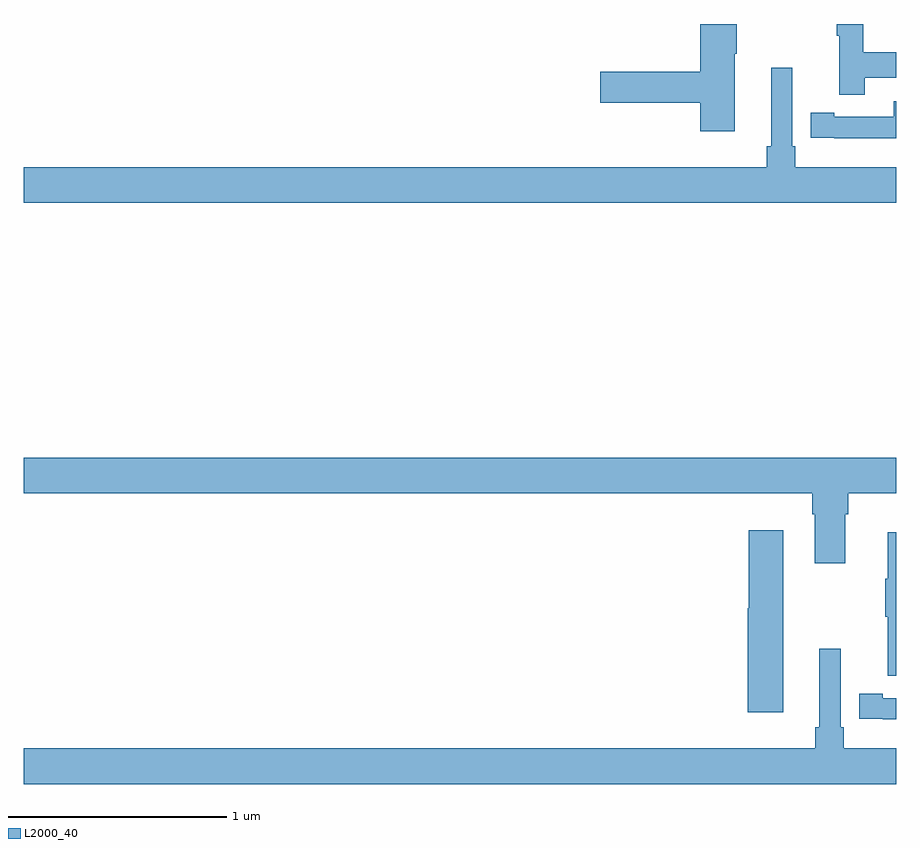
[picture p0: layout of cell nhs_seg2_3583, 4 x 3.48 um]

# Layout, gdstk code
import gdstk
lib = gdstk.Library(unit=1e-6, precision=1e-09)
def P(c, l, *ps):  # polygons
    for p in ps: c.add(gdstk.Polygon(p, *l))
L2000_40 = (2000, 40)

nhs_seg2_3583 = lib.new_cell('nhs_seg2_3583')
P(nhs_seg2_3583, L2000_40, [(302.26,637.663),(302.268,637.663),(302.268,637.8),(302.102,637.8),(302.102,637.58),(301.644,637.58),(301.644,637.438),(302.102,637.438),(302.102,637.308),(302.26,637.308)],
  [(302.855,637.554),(303,637.554),(303,637.67),(302.848,637.67),(302.848,637.8),(302.727,637.8),(302.727,637.747),(302.738,637.747),(302.738,637.476),(302.855,637.476)],
  [(303,637.144),(302.537,637.144),(302.537,637.24),(302.523,637.24),(302.523,637.6),(302.426,637.6),(302.426,637.24),(302.407,637.24),(302.407,637.144),(299,637.144),(299,636.98),(303,636.98)],
  [(303,637.446),(302.988,637.446),(302.988,637.374),(302.716,637.374),(302.716,637.394),(302.608,637.394),(302.608,637.278),(302.716,637.278),(302.716,637.277),(303,637.277)],
  [(302.767,635.552),(302.78,635.552),(302.78,635.648),(303,635.648),(303,635.812),(299,635.812),(299,635.648),(302.615,635.648),(302.615,635.552),(302.627,635.552),(302.627,635.328),(302.767,635.328)],
  [(302.482,635.479),(302.324,635.479),(302.324,635.121),(302.318,635.121),(302.318,634.644),(302.482,634.644)],
  [(303,635.47),(302.96,635.47),(302.96,635.257),(302.949,635.257),(302.949,635.083),(302.96,635.083),(302.96,634.812),(303,634.812)],
  [(303,634.48),(302.759,634.48),(302.759,634.576),(302.745,634.576),(302.745,634.936),(302.648,634.936),(302.648,634.576),(302.629,634.576),(302.629,634.48),(299,634.48),(299,634.316),(303,634.316)],
  [(303,634.71),(302.938,634.71),(302.938,634.73),(302.83,634.73),(302.83,634.614),(302.938,634.614),(302.938,634.613),(303,634.613)])

lib.write_gds('nhs_seg2_3583.gds')
